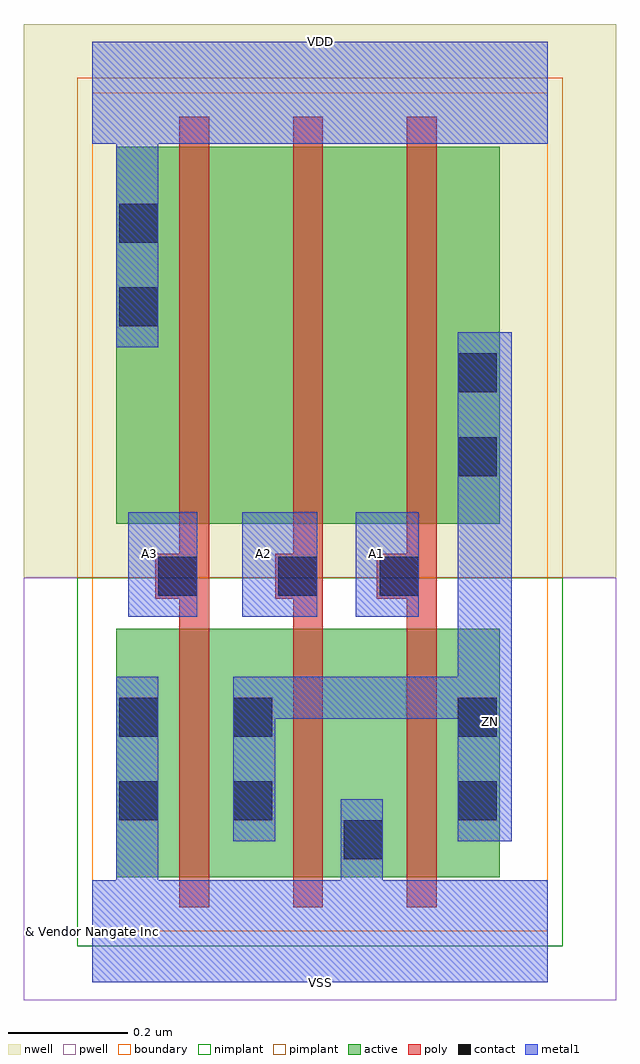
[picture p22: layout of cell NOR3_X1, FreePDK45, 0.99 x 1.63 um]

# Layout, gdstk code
import gdstk
lib = gdstk.Library(unit=1e-6, precision=1e-10)
def R(c, l, rs):  # rectangles x0, y0, x1, y1
    for r in rs: c.add(gdstk.rectangle(r[:2], r[2:], *l))
def P(c, l, *ps):  # polygons
    for p in ps: c.add(gdstk.Polygon(p, *l))
active = (1, 0)
pwell = (2, 0)
nwell = (3, 0)
nimplant = (4, 0)
pimplant = (5, 0)
poly = (9, 0)
contact = (10, 0)
metal1 = (11, 0)
boundary = (235, 0)

nor3_x1 = lib.new_cell('NOR3_X1')
R(nor3_x1, active, [(0.04,0.09,0.68,0.505), (0.04,0.68,0.68,1.31)])
R(nor3_x1, pwell, [(-0.115,-0.115,0.875,0.59)])
R(nor3_x1, nwell, [(-0.115,0.59,0.875,1.515)])
R(nor3_x1, nimplant, [(-0.025,-0.025,0.785,0.59)])
R(nor3_x1, pimplant, [(-0.025,0.59,0.785,1.425)])
P(nor3_x1, poly, [(0.145,0.04),(0.145,0.555),(0.105,0.555),(0.105,0.63),(0.145,0.63),(0.145,1.36),(0.195,1.36),(0.195,0.04)],
  [(0.335,0.04),(0.335,0.555),(0.305,0.555),(0.305,0.63),(0.335,0.63),(0.335,1.36),(0.385,1.36),(0.385,0.04)],
  [(0.525,0.04),(0.525,0.555),(0.475,0.555),(0.475,0.63),(0.525,0.63),(0.525,1.36),(0.575,1.36),(0.575,0.04)])
R(nor3_x1, contact, [(0.42,0.12,0.485,0.185), (0.045,0.185,0.11,0.25), (0.235,0.185,0.3,0.25), (0.61,0.185,0.675,0.25), (0.045,0.325,0.11,0.39), (0.235,0.325,0.3,0.39), (0.61,0.325,0.675,0.39), (0.11,0.56,0.175,0.625), (0.31,0.56,0.375,0.625), (0.48,0.56,0.545,0.625), (0.61,0.76,0.675,0.825), (0.61,0.9,0.675,0.965), (0.045,1.01,0.11,1.075), (0.045,1.15,0.11,1.215)])
R(nor3_x1, metal1, [(0.06,0.525,0.175,0.7), (0.25,0.525,0.375,0.7), (0.44,0.525,0.545,0.7)])
P(nor3_x1, metal1, [(0.235,0.15),(0.235,0.425),(0.61,0.425),(0.61,1),(0.7,1),(0.7,0.15),(0.61,0.15),(0.61,0.355),(0.305,0.355),(0.305,0.15)],
  [(0,-0.085),(0,0.085),(0.04,0.085),(0.04,0.425),(0.11,0.425),(0.11,0.085),(0.415,0.085),(0.415,0.22),(0.485,0.22),(0.485,0.085),(0.76,0.085),(0.76,-0.085)],
  [(0.04,0.975),(0.04,1.315),(0,1.315),(0,1.485),(0.76,1.485),(0.76,1.315),(0.11,1.315),(0.11,0.975)])
R(nor3_x1, boundary, [(0,0,0.76,1.4)])
nor3_x1.add(gdstk.Label('A1', (0.475,0.63), layer=11, texttype=0))
nor3_x1.add(gdstk.Label('A2', (0.285,0.63), layer=11, texttype=0))
nor3_x1.add(gdstk.Label('A3', (0.095,0.63), layer=11, texttype=0))
nor3_x1.add(gdstk.Label('VDD', (0.38,1.485), layer=11, texttype=0))
nor3_x1.add(gdstk.Label('VSS', (0.38,-0.085), layer=11, texttype=0))
nor3_x1.add(gdstk.Label('ZN', (0.665,0.35), layer=11, texttype=0))
nor3_x1.add(gdstk.Label('& Vendor Nangate Inc', (0,0), layer=63, texttype=63))
nor3_x1.add(gdstk.Label('& Product Open Cell Library', (0,0), layer=63, texttype=63))
nor3_x1.add(gdstk.Label('& Version 2010_12', (0,0), layer=63, texttype=63))
nor3_x1.add(gdstk.Label('& Instance NOR3_X1', (0,0), layer=63, texttype=63))

lib.write_gds('NOR3_X1.gds')
